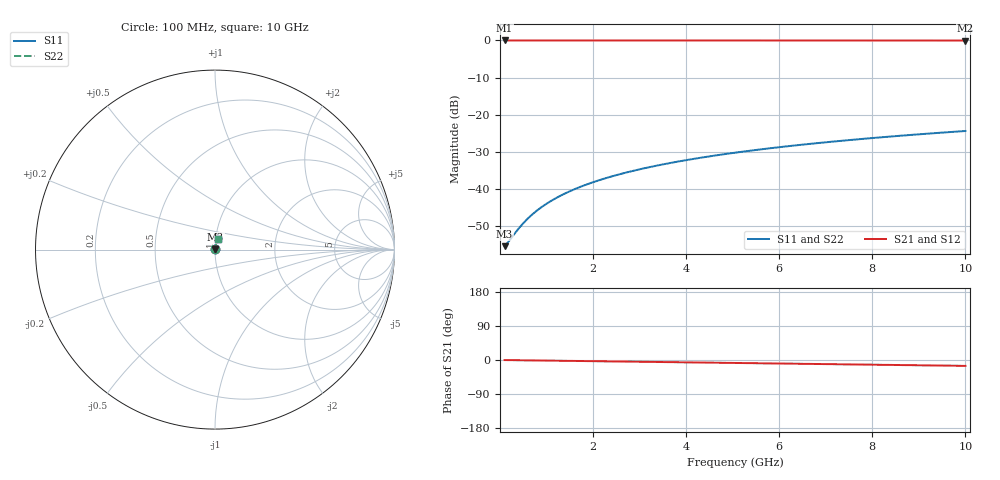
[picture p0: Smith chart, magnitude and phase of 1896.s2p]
# Hz S RI R 50.00
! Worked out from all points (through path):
!   100 points, 100 MHz to 10 GHz, reference 50 ohm
!   highest |S21| = -0.01 dB at 100 MHz (marker M1); lowest = 0.0 dB at 10 GHz (marker M2)
!   group delay of S21, straight-line fit = 4.3 ps
!   lowest |S11| = -55.4 dB at 100 MHz (marker M3), VSWR 1.00, Z = 50.2 + j0.0608 ohm
!   |S11| at or under -10 dB: start of sweep to end of sweep
!   |S22| runs from -55.4 to -24.4 dB; largest |S21 - S12| = 0
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1e8  0.00158 0.000606  0.9984 -0.00269  0.9984 -0.00269  0.00158 0.000606
2e8  0.0016 0.00121  0.9984 -0.00538  0.9984 -0.00538  0.0016 0.00121
4e8  0.00163 0.00242  0.9983 -0.0108  0.9983 -0.0108  0.00163 0.00242
5e8  0.00165 0.00303  0.9983 -0.0135  0.9983 -0.0135  0.00165 0.00303
6e8  0.00167 0.00363  0.9982 -0.0162  0.9982 -0.0162  0.00167 0.00363
7e8  0.00169 0.00424  0.9982 -0.0188  0.9982 -0.0188  0.00169 0.00424
8e8  0.00172 0.00484  0.9981 -0.0215  0.9981 -0.0215  0.00172 0.00484
1e9  0.00179 0.00605  0.998 -0.0269  0.998 -0.0269  0.00179 0.00605
1.2e9  0.00186 0.00726  0.9978 -0.0323  0.9978 -0.0323  0.00186 0.00726
1.5e9  0.002 0.00907  0.9975 -0.0404  0.9975 -0.0404  0.002 0.00907
1.8e9  0.00217 0.0109  0.9971 -0.0484  0.9971 -0.0484  0.00217 0.0109
2.1e9  0.00236 0.0127  0.9966 -0.0565  0.9966 -0.0565  0.00236 0.0127
2.5e9  0.00267 0.0151  0.9959 -0.0673  0.9959 -0.0673  0.00267 0.0151
2.9e9  0.00302 0.0175  0.9951 -0.078  0.9951 -0.078  0.00302 0.0175
3.4e9  0.00354 0.0205  0.9939 -0.0914  0.9939 -0.0914  0.00354 0.0205
4.2e9  0.00454 0.0252  0.9915 -0.1128  0.9915 -0.1128  0.00454 0.0252
5.1e9  0.0059 0.0305  0.9883 -0.1369  0.9883 -0.1369  0.0059 0.0305
5.9e9  0.00733 0.0351  0.9849 -0.1582  0.9849 -0.1582  0.00733 0.0351
6.7e9  0.00895 0.0396  0.9811 -0.1794  0.9811 -0.1794  0.00895 0.0396
7.5e9  0.0108 0.0441  0.9768 -0.2006  0.9768 -0.2006  0.0108 0.0441
8.4e9  0.0131 0.0491  0.9713 -0.2242  0.9713 -0.2242  0.0131 0.0491
1e10  0.0177 0.0576  0.9601 -0.2659  0.9601 -0.2659  0.0177 0.0576
